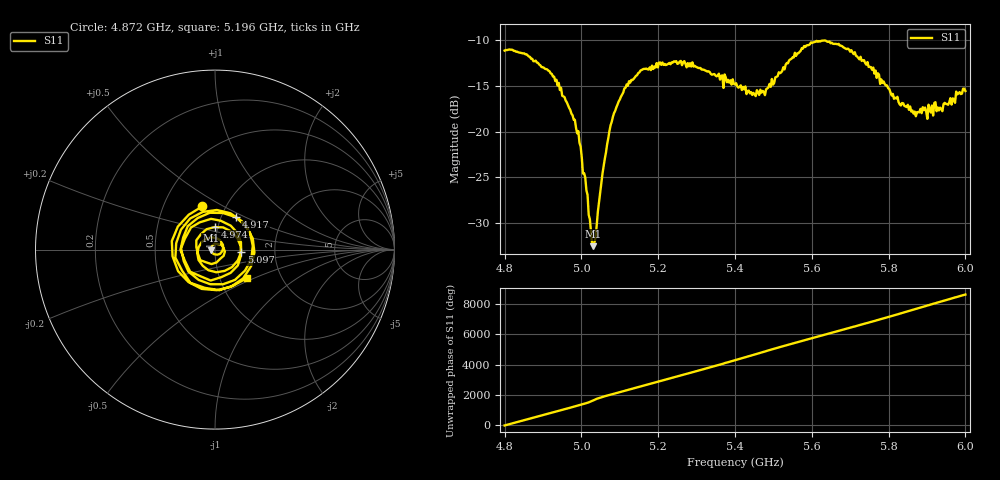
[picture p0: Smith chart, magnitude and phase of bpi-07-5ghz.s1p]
! NanoVNA-App
! Date: 2026-05-22 17:56:12
! Start: 4.8GHz Stop: 6GHz Points: 401
! S-Parameter data: F S11
# Hz S RI R 50
!  Frequency  S11_Real  S11_Imag
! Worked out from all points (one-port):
!   401 points, 4.8 GHz to 6 GHz, reference 50 ohm
!   lowest |S11| = -32.5 dB at 5.031 GHz (marker M1), VSWR 1.05, Z = 47.7 - j0.438 ohm
!   |S11| at or under -10 dB: start of sweep to 5.634 GHz; 5.634 GHz to end of sweep
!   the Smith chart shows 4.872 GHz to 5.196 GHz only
!   S11 on the Smith chart (normalised r, x): 4.872 GHz: 0.78, +0.40; 4.917 GHz: 1.17, +0.44; 4.974 GHz: 0.97, +0.25; 5.097 GHz: 1.34, -0.04; 5.196 GHz: 1.34, -0.45
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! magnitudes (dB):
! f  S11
! 4.8 GHz  -11.1
! 4.872 GHz  -12.0
! 4.917 GHz  -13.4
! 4.95 GHz  -16.1
! 4.974 GHz  -18.0
! 4.995 GHz  -21.2
! 5.013 GHz  -26.4
! 5.025 GHz  -31.0
! 5.031 GHz  -32.5
! 5.037 GHz  -31.6
! 5.055 GHz  -24.6
! 5.07 GHz  -20.7
! 5.082 GHz  -18.4
! 5.097 GHz  -16.7
! 5.1 GHz  -16.5
! 5.154 GHz  -13.3
! 5.196 GHz  -12.5
! 5.25 GHz  -12.6
! 5.4 GHz  -14.8
! 5.448 GHz  -15.7
! 5.475 GHz  -15.6
! 5.55 GHz  -11.9
! 5.625 GHz  -10.0
! 5.7 GHz  -11.2
! 5.85 GHz  -17.1
! 5.871 GHz  -18.3
! 5.934 GHz  -17.4
! 6 GHz  -15.5
